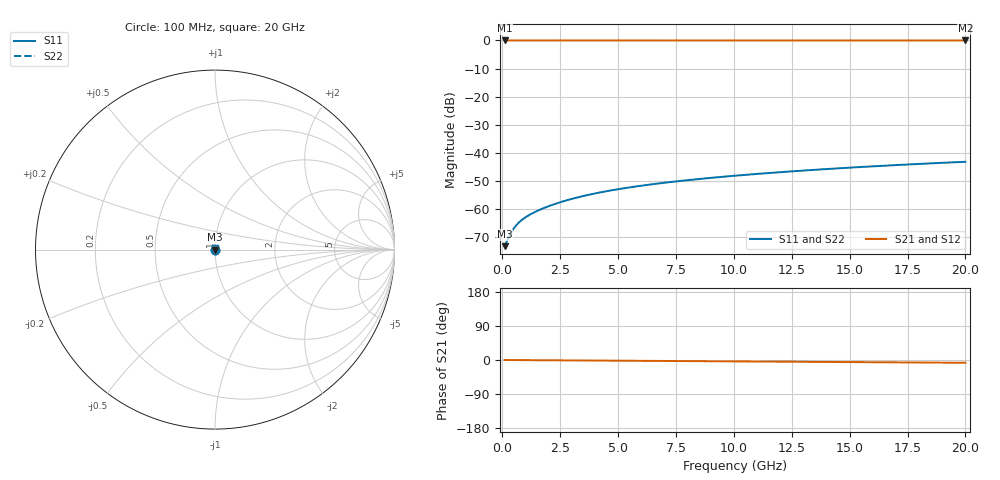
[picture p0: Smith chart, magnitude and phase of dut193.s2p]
! Touchstone file exported from HFSS 2026.1.0
!  File:  C:/ffzhzh/LocalFiles/Ansys_Project_Files/temp_train_TSV_193_1782991552_41620.aedt
!  Generated:  07:27:32 PM Jul  2, 2026
!  Design:  TSV
!  Project:  temp_train_TSV_193_1782991552_41620
! Variables:
!  h_bsmrdl = 2um
!  h_ox = 20um
!  h_rdl = 5um
!  h_sub = 75.15um
!  h_tmrdl = 5um
!  h_tsv = 75.15um
!  h_via = 3um
!  l_bsmrdl = 300um
!  l_sub = 414.58um
!  l_tmrdl = 200um
!  m_sub = 200um
!  pitch = 31.54um
!  r_tsv = 7.29um
!  s_tmrdl = 10um
!  w_bsmrdl = 18um
!  w_sub = 500um
!  w_tmrdl = 12um
!  x_tsv_center1 = 206um
!  x_tsv_center2 = 524um
!  x_tsv_center3 = 736um
!  x_tsv_center4 = 1054um
!  x_tsv_center5 = 1266um
!  x_tsv_center6 = 1584um
# GHz S MA R 50.000000
! Terminal data exported
! Port[1] = TSV1_1_T1
! Port[2] = TSV1_1_T2
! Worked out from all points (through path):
!   200 points, 100 MHz to 20 GHz, reference 50 ohm
!   highest |S21| = 0.00 dB at 100 MHz (marker M1); lowest = 0.0 dB at 20 GHz (marker M2)
!   group delay of S21, straight-line fit = 1.01 ps
!   lowest |S11| = -73.3 dB at 100 MHz (marker M3), VSWR 1.00, Z = 50 + j0.00802 ohm
!   |S11| at or under -10 dB: start of sweep to end of sweep
!   |S22| runs from -73.3 to -43.2 dB; largest |S21 - S12| = 3.2e-15
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0.1  0.0002173 21.7  0.9998 -0.0  0.9998 -0.0  0.0002173 21.7
! Gamma 0 0 0 0
! Port Impedance 50 0 50 0
0.3  0.0003275 44.4  0.9998 -0.1  0.9998 -0.1  0.0003275 44.4
0.4  0.0003911 48.9  0.9997 -0.2  0.9997 -0.2  0.0003911 48.9
0.5  0.0004526 51.5  0.9997 -0.2  0.9997 -0.2  0.0004526 51.5
0.6  0.0005105 53.1  0.9997 -0.2  0.9997 -0.2  0.0005105 53.1
0.7  0.0005645 54.2  0.9997 -0.3  0.9997 -0.3  0.0005645 54.2
0.8  0.0006152 55.1  0.9996 -0.3  0.9996 -0.3  0.0006152 55.1
1  0.0007087 56.5  0.9996 -0.4  0.9996 -0.4  0.0007087 56.5
1.4  0.0008781 58.9  0.9995 -0.5  0.9995 -0.5  0.0008781 58.9
1.7  0.000999 60.6  0.9995 -0.6  0.9995 -0.6  0.000999 60.6
2  0.001118 62.0  0.9995 -0.8  0.9995 -0.8  0.001118 62.0
2.7  0.001393 64.3  0.9994 -1.0  0.9994 -1.0  0.001393 64.3
3.5  0.001699 66.0  0.9993 -1.3  0.9993 -1.3  0.001699 66.0
4.2  0.001959 66.9  0.9993 -1.6  0.9993 -1.6  0.001959 66.9
5  0.002246 67.6  0.9992 -1.9  0.9992 -1.9  0.002246 67.6
5.9  0.002557 68.1  0.9991 -2.2  0.9991 -2.2  0.002557 68.1
6.8  0.002859 68.5  0.9991 -2.5  0.9991 -2.5  0.002859 68.5
8.3  0.003349 69.1  0.999 -3.1  0.999 -3.1  0.003349 69.1
10.1  0.003922 69.5  0.9989 -3.7  0.9989 -3.7  0.003922 69.5
13.4  0.004947 69.9  0.9987 -4.9  0.9987 -4.9  0.004947 69.9
16.7  0.005946 69.8  0.9985 -6.1  0.9985 -6.1  0.005946 69.8
20  0.006913 69.3  0.9984 -7.3  0.9984 -7.3  0.006913 69.3
